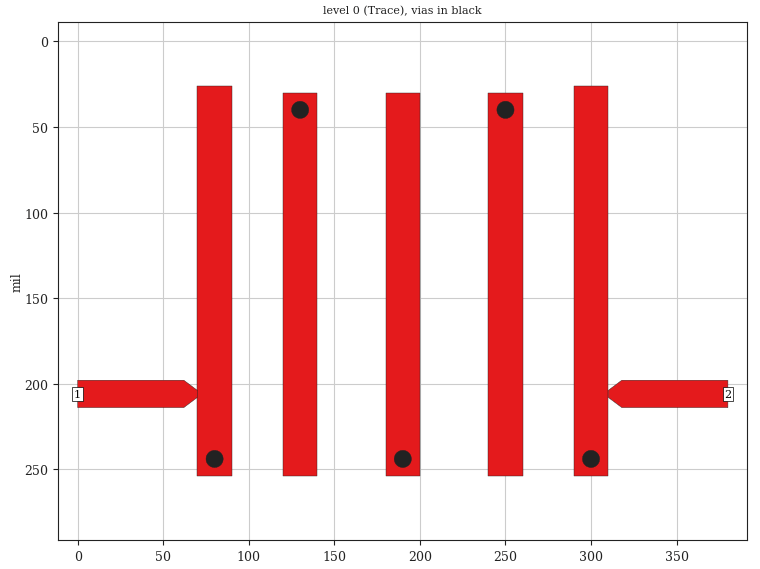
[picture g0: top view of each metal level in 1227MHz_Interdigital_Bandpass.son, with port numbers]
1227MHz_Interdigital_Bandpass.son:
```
FTYP SONPROJ 19 ! Sonnet Project File
VER 18.53
HEADER
LIC SL685cced7
DAT 09/08/2025 07:52:05
BUILT_BY_CREATED xgeom 18.53-Lite 06/25/2025 21:44:42
BUILT_BY_SAVED sonnet 18.53-Lite
MDATE 06/25/2025 22:34:56
HDATE 06/25/2025 22:34:56
END HEADER
DIM
ANG DEG
CAP PF
CON /OH
FREQ GHZ
IND NH
LNG MIL
RES OH
END DIM
CONTROL
VARSWP
OPTIONS  -dj
SPEED 0
CACHE_ABS 2
Q_ACC N
END CONTROL
GEO
TMET "Cover" 1 NOR 40900000 0 0.1 
BMET "Cover" 1 NOR 40900000 0 0.1 
MET "Gold_Trace" 2 NOR 40900000 0.5 0.1 
MET "Gold_Via" 1 VOL 40900000 0.1
BOX 1 380 280 380 280 20 0
      150 1 1 0 0 0 0 "Air"
      15 9.4 1 0.0004 0 0 0 "Alumina (96%)"
TECHLAY METAL Trace <UNSPECIFIED> -2 -65534 
0 0 0 N 55 1 1 100 100 0 0 0 Y
END
END
TECHLAY VIA Via_Gnd <UNSPECIFIED> -3 -65534 
VIA POLYGON
1 0 1 N 60 1 1 100 100 0 0 0 Y
TOLEVEL 0 RING NOCOVERS
END
END
LORGN 0 280 U 
POR1 BOX
POLY 43 1
3
1 50 0 0 0 0 206 
POR1 BOX
POLY 44 1
3
2 50 0 0 0 380 206 
NUM 12
0 5 0 N 31 1 1 100 100 0 0 0 Y
TLAYNAM Trace INH
70 26
90 26
90 254
70 254
70 26
END
0 5 0 N 35 1 1 100 100 0 0 0 Y
TLAYNAM Trace INH
180 30
200 30
200 254
180 254
180 30
END
0 5 0 N 37 1 1 100 100 0 0 0 Y
TLAYNAM Trace INH
240 30
260 30
260 254
240 254
240 30
END
0 5 0 N 39 1 1 100 100 0 0 0 Y
TLAYNAM Trace INH
290 26
310 26
310 254
290 254
290 26
END
0 7 0 N 43 1 1 100 100 0 0 0 Y
TLAYNAM Trace INH
70 208
70 204
62 198
0 198
0 214
62 214
70 208
END
0 7 0 N 44 1 1 100 100 0 0 0 Y
TLAYNAM Trace INH
310 208
310 204
318 198
380 198
380 214
318 214
310 208
END
0 5 0 N 33 1 1 100 100 0 0 0 Y
TLAYNAM Trace INH
120 30
140 30
140 254
120 254
120 30
END
VIA POLYGON
1 37 1 N 32 1 1 100 100 0 0 0 Y
TOLEVEL 0 RING NOCOVERS
TLAYNAM Via_Gnd INH
85 244.4374433
84.84807753 245.2990385
84.54884868 246.121163
84.11140536 246.878837
83.54903907 247.5490391
82.87883703 248.1114054
82.12116297 248.5488487
81.29903846 248.8480775
80.43744332 249
79.56255668 249
78.70096154 248.8480775
77.87883703 248.5488487
77.12116297 248.1114054
76.45096093 247.5490391
75.88859464 246.878837
75.45115132 246.121163
75.15192247 245.2990385
75 244.4374433
75 243.5625567
75.15192247 242.7009615
75.45115132 241.878837
75.88859464 241.121163
76.45096093 240.4509609
77.12116297 239.8885946
77.87883703 239.4511513
78.70096154 239.1519225
79.56255668 239
80.43744332 239
81.29903846 239.1519225
82.12116297 239.4511513
82.87883703 239.8885946
83.54903907 240.4509609
84.11140536 241.121163
84.54884868 241.878837
84.84807753 242.7009615
85 243.5625567
85 244.4374433
END
VIA POLYGON
1 37 1 N 34 1 1 100 100 0 0 0 Y
TOLEVEL 0 RING NOCOVERS
TLAYNAM Via_Gnd INH
135 40.4374433
134.8480775 41.2990385
134.5488487 42.121163
134.1114054 42.878837
133.5490391 43.5490391
132.878837 44.1114054
132.121163 44.5488487
131.2990385 44.8480775
130.4374433 45
129.5625567 45
128.7009615 44.8480775
127.878837 44.5488487
127.121163 44.1114054
126.4509609 43.5490391
125.8885946 42.878837
125.4511513 42.121163
125.1519225 41.2990385
125 40.4374433
125 39.5625567
125.1519225 38.7009615
125.4511513 37.878837
125.8885946 37.121163
126.4509609 36.4509609
127.121163 35.8885946
127.878837 35.4511513
128.7009615 35.1519225
129.5625567 35
130.4374433 35
131.2990385 35.1519225
132.121163 35.4511513
132.878837 35.8885946
133.5490391 36.4509609
134.1114054 37.121163
134.5488487 37.878837
134.8480775 38.7009615
135 39.5625567
135 40.4374433
END
VIA POLYGON
1 37 1 N 36 1 1 100 100 0 0 0 Y
TOLEVEL 0 RING NOCOVERS
TLAYNAM Via_Gnd INH
195 244.4374433
194.8480775 245.2990385
194.5488487 246.121163
194.1114054 246.878837
193.5490391 247.5490391
192.878837 248.1114054
192.121163 248.5488487
191.2990385 248.8480775
190.4374433 249
189.5625567 249
188.7009615 248.8480775
187.878837 248.5488487
187.121163 248.1114054
186.4509609 247.5490391
185.8885946 246.878837
185.4511513 246.121163
185.1519225 245.2990385
185 244.4374433
185 243.5625567
185.1519225 242.7009615
185.4511513 241.878837
185.8885946 241.121163
186.4509609 240.4509609
187.121163 239.8885946
187.878837 239.4511513
188.7009615 239.1519225
189.5625567 239
190.4374433 239
191.2990385 239.1519225
192.121163 239.4511513
192.878837 239.8885946
193.5490391 240.4509609
194.1114054 241.121163
194.5488487 241.878837
194.8480775 242.7009615
195 243.5625567
195 244.4374433
END
VIA POLYGON
1 37 1 N 38 1 1 100 100 0 0 0 Y
TOLEVEL 0 RING NOCOVERS
TLAYNAM Via_Gnd INH
255 40.4374433
254.8480775 41.2990385
254.5488487 42.121163
254.1114054 42.878837
253.5490391 43.5490391
252.878837 44.1114054
252.121163 44.5488487
251.2990385 44.8480775
250.4374433 45
249.5625567 45
248.7009615 44.8480775
247.878837 44.5488487
247.121163 44.1114054
246.4509609 43.5490391
245.8885946 42.878837
245.4511513 42.121163
245.1519225 41.2990385
245 40.4374433
245 39.5625567
245.1519225 38.7009615
245.4511513 37.878837
245.8885946 37.121163
246.4509609 36.4509609
247.121163 35.8885946
247.878837 35.4511513
248.7009615 35.1519225
249.5625567 35
250.4374433 35
251.2990385 35.1519225
252.121163 35.4511513
252.878837 35.8885946
253.5490391 36.4509609
254.1114054 37.121163
254.5488487 37.878837
254.8480775 38.7009615
255 39.5625567
255 40.4374433
END
VIA POLYGON
1 37 1 N 40 1 1 100 100 0 0 0 Y
TOLEVEL 0 RING NOCOVERS
TLAYNAM Via_Gnd INH
305 244.4374433
304.8480775 245.2990385
304.5488487 246.121163
304.1114054 246.878837
303.5490391 247.5490391
302.878837 248.1114054
302.121163 248.5488487
301.2990385 248.8480775
300.4374433 249
299.5625567 249
298.7009615 248.8480775
297.878837 248.5488487
297.121163 248.1114054
296.4509609 247.5490391
295.8885946 246.878837
295.4511513 246.121163
295.1519225 245.2990385
295 244.4374433
295 243.5625567
295.1519225 242.7009615
295.4511513 241.878837
295.8885946 241.121163
296.4509609 240.4509609
297.121163 239.8885946
297.878837 239.4511513
298.7009615 239.1519225
299.5625567 239
300.4374433 239
301.2990385 239.1519225
302.121163 239.4511513
302.878837 239.8885946
303.5490391 240.4509609
304.1114054 241.121163
304.5488487 241.878837
304.8480775 242.7009615
305 243.5625567
305 244.4374433
END
END GEO
OPT
MAX 100
END OPT
VARSWP
ENABLED Y
FREQ Y AY ABS_ENTRY 4.4 5.6 -1 300 
END
END VARSWP
```
